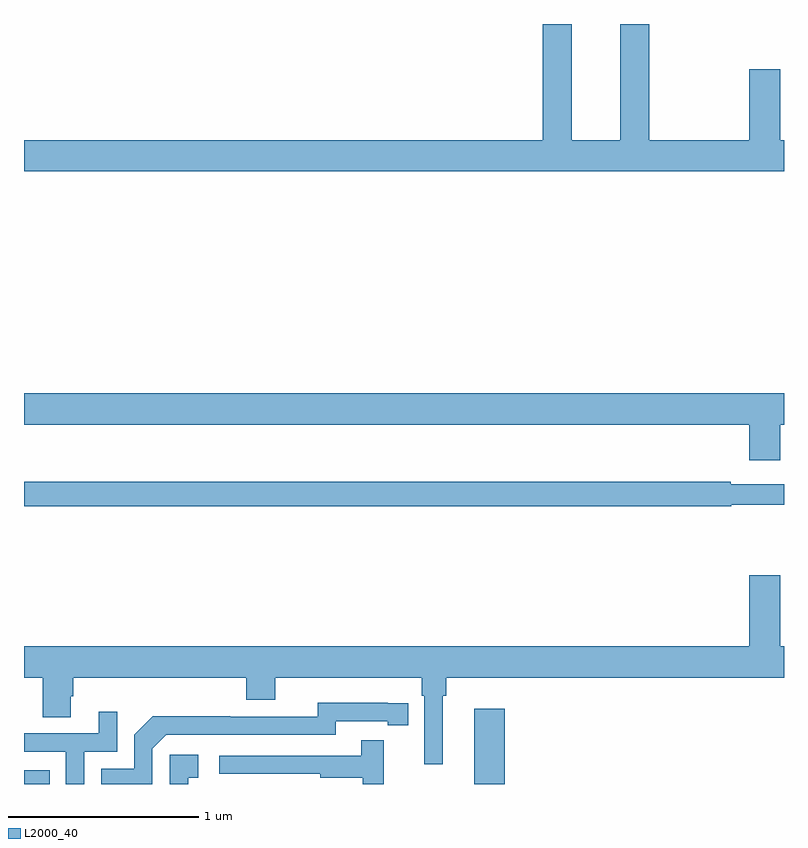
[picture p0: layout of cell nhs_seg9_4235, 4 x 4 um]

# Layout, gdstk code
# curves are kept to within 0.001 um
import gdstk
lib = gdstk.Library(unit=1e-6, precision=1e-09)
def R(c, l, rs):  # rectangles x0, y0, x1, y1
    for r in rs: c.add(gdstk.rectangle(r[:2], r[2:], *l))
def P(c, l, *ps):  # polygons
    for p in ps: c.add(gdstk.Polygon(p, *l))
L2000_40 = (2000, 40)

nhs_seg9_4235 = lib.new_cell('nhs_seg9_4235')
R(nhs_seg9_4235, L2000_40, [(353,1222.5,353.135,1222.572), (355.37,1222.5,355.529,1222.897)])
P(nhs_seg9_4235, L2000_40, [(357,1225.888),(356.98,1225.888),(356.98,1226.263),(356.816,1226.263),(356.816,1225.888),(356.291,1225.888),(356.291,1226.5),(356.138,1226.5),(356.138,1225.888),(355.882,1225.888),(355.882,1226.5),(355.73,1226.5),(355.73,1225.888),(353,1225.888),(353,1225.724),(357,1225.724)],
  [(356.98,1224.392),(357,1224.392),(357,1224.556),(353,1224.556),(353,1224.392),(356.816,1224.392),(356.816,1224.204),(356.98,1224.204)],
  [(356.722,1223.97),(357,1223.97),(357,1224.078),(356.72,1224.078),(356.72,1224.091),(353,1224.091),(353,1223.962),(356.722,1223.962)],
  [(355.204,1222.964),(355.223,1222.964),(355.223,1223.06),(357,1223.06),(357,1223.224),(356.98,1223.224),(356.98,1223.599),(356.816,1223.599),(356.816,1223.224),(353,1223.224),(353,1223.06),(353.098,1223.06),(353.098,1222.852),(353.245,1222.852),(353.245,1222.962),(353.258,1222.962),(353.258,1223.06),(354.17,1223.06),(354.17,1222.943),(354.322,1222.943),(354.322,1223.06),(355.094,1223.06),(355.094,1222.964),(355.107,1222.964),(355.107,1222.605),(355.204,1222.605)],
  [(353.676,1222.686),(353.748,1222.758),(354.642,1222.758),(354.642,1222.83),(354.914,1222.83),(354.914,1222.81),(355.022,1222.81),(355.022,1222.926),(354.546,1222.927),(354.546,1222.854),(354.086,1222.854),(354.086,1222.856),(353.678,1222.856),(353.58,1222.758),(353.58,1222.581),(353.406,1222.581),(353.406,1222.5),(353.676,1222.5)],
  [(353.316,1222.671),(353.49,1222.671),(353.49,1222.879),(353.393,1222.879),(353.393,1222.767),(353,1222.767),(353,1222.671),(353.22,1222.671),(353.22,1222.5),(353.316,1222.5)],
  [(354.893,1222.729),(354.775,1222.729),(354.775,1222.65),(354.027,1222.65),(354.027,1222.554),(354.559,1222.554),(354.559,1222.534),(354.783,1222.534),(354.783,1222.5),(354.893,1222.5)],
  [(353.864,1222.533),(353.917,1222.533),(353.917,1222.654),(353.766,1222.654),(353.766,1222.5),(353.864,1222.5)])

lib.write_gds('nhs_seg9_4235.gds')
